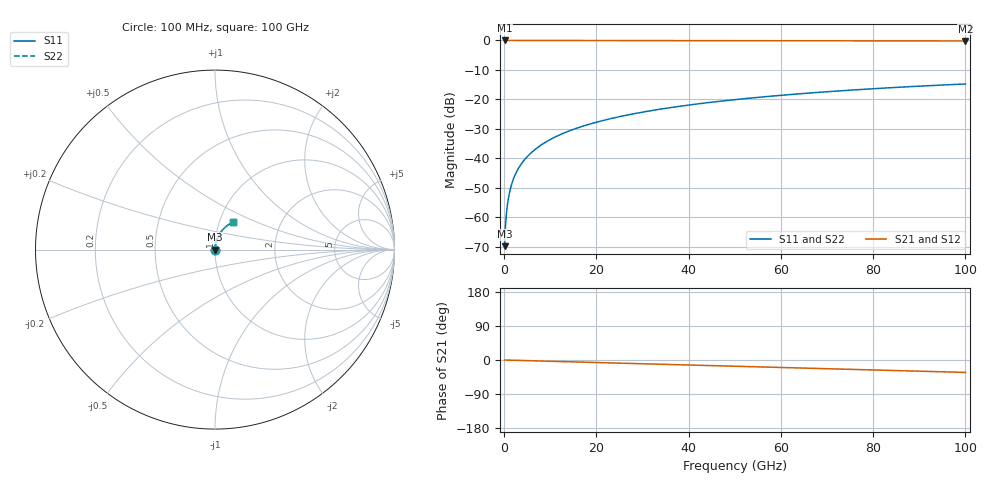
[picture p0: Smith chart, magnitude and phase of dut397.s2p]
! Touchstone file exported from HFSS 2026.1.0
!  File:  C:/ffzhzh/LocalFiles/Ansys_Project_Files/temp_train_TSV_397_1783510790_9504.aedt
!  Generated:  07:41:05 PM Jul  8, 2026
!  Design:  TSV
!  Project:  temp_train_TSV_397_1783510790_9504
! Variables:
!  h_bsmrdl = 2um
!  h_ox = 20um
!  h_rdl = 5um
!  h_sub = 59.02um
!  h_tmrdl = 5um
!  h_tsv = 59.02um
!  h_via = 3um
!  l_bsmrdl = 300um
!  l_sub = 412.26um
!  l_tmrdl = 200um
!  m_sub = 200um
!  pitch = 40.11um
!  r_tsv = 6.13um
!  s_tmrdl = 10um
!  w_bsmrdl = 18um
!  w_sub = 500um
!  w_tmrdl = 12um
!  x_tsv_center1 = 206um
!  x_tsv_center2 = 524um
!  x_tsv_center3 = 736um
!  x_tsv_center4 = 1054um
!  x_tsv_center5 = 1266um
!  x_tsv_center6 = 1584um
# GHz S MA R 50.000000
! Terminal data exported
! Port[1] = TSV1_1_T1
! Port[2] = TSV1_1_T2
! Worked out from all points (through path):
!   1000 points, 100 MHz to 100 GHz, reference 50 ohm
!   highest |S21| = 0.00 dB at 100 MHz (marker M1); lowest = -0.2 dB at 100 GHz (marker M2)
!   group delay of S21, straight-line fit = 909 fs
!   lowest |S11| = -69.8 dB at 100 MHz (marker M3), VSWR 1.00, Z = 50 + j0.0241 ohm
!   |S11| at or under -10 dB: start of sweep to end of sweep
!   |S22| runs from -69.8 to -14.8 dB; largest |S21 - S12| = 4e-15
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0.1  0.0003236 48.2  0.9998 -0.0  0.9998 -0.0  0.0003236 48.2
! Gamma 0 0 0 0
! Port Impedance 50 0 50 0
0.4  0.0009509 74.7  0.9998 -0.1  0.9998 -0.1  0.0009509 74.7
0.7  0.001608 80.1  0.9997 -0.2  0.9997 -0.2  0.001608 80.1
0.8  0.001828 80.9  0.9997 -0.3  0.9997 -0.3  0.001828 80.9
1.1  0.002488 82.5  0.9997 -0.4  0.9997 -0.4  0.002488 82.5
1.4  0.003143 83.3  0.9997 -0.5  0.9997 -0.5  0.003143 83.3
1.9  0.004224 83.9  0.9996 -0.7  0.9996 -0.7  0.004224 83.9
2.4  0.005288 84.2  0.9995 -0.8  0.9995 -0.8  0.005288 84.2
3  0.006548 84.4  0.9995 -1.0  0.9995 -1.0  0.006548 84.4
3.8  0.008208 84.5  0.9994 -1.3  0.9994 -1.3  0.008208 84.5
4.8  0.01027 84.5  0.9993 -1.6  0.9993 -1.6  0.01027 84.5
6  0.01273 84.5  0.9991 -2.0  0.9991 -2.0  0.01273 84.5
8.8  0.01844 84.1  0.9989 -3.0  0.9989 -3.0  0.01844 84.1
12.4  0.02574 83.4  0.9985 -4.2  0.9985 -4.2  0.02574 83.4
16.8  0.03459 82.2  0.9981 -5.6  0.9981 -5.6  0.03459 82.2
24.2  0.04935 80.1  0.9972 -8.1  0.9972 -8.1  0.04935 80.1
33.4  0.06741 77.4  0.9959 -11.1  0.9959 -11.1  0.06741 77.4
41.2  0.08243 74.9  0.9946 -13.7  0.9946 -13.7  0.08243 74.9
50.1  0.09919 72.2  0.9928 -16.6  0.9928 -16.6  0.09919 72.1
66.7  0.1292 66.9  0.9891 -22.0  0.9891 -22.0  0.1292 66.9
83.4  0.1572 61.6  0.9847 -27.4  0.9847 -27.4  0.1572 61.6
100  0.1827 56.4  0.9801 -32.7  0.9801 -32.7  0.1827 56.4
